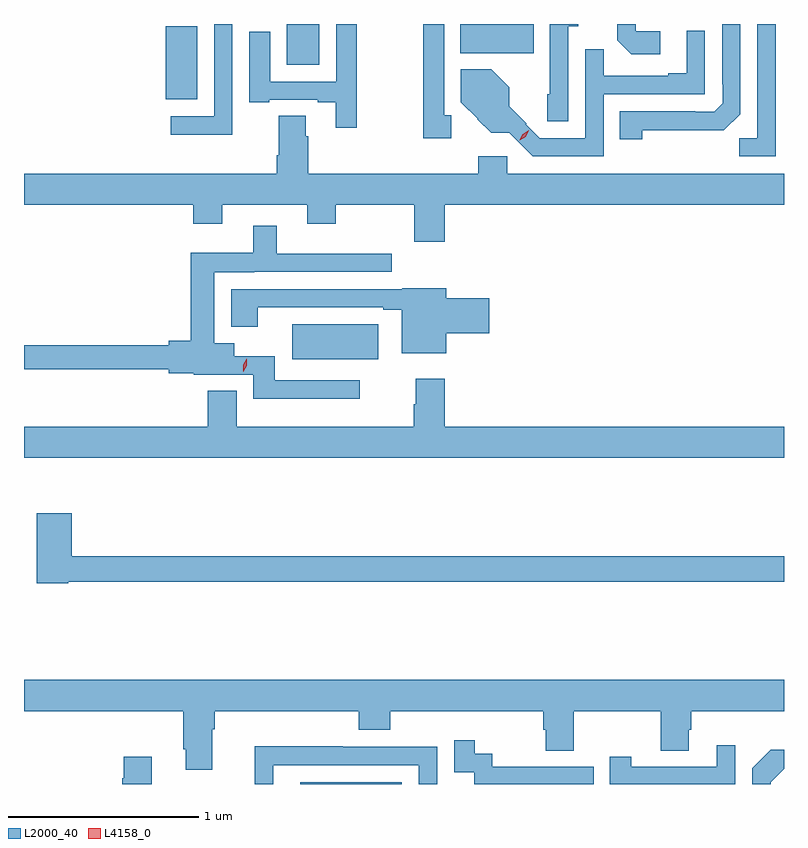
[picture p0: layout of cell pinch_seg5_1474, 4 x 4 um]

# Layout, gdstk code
import gdstk
lib = gdstk.Library(unit=1e-6, precision=1e-09)
def R(c, l, rs):  # rectangles x0, y0, x1, y1
    for r in rs: c.add(gdstk.rectangle(r[:2], r[2:], *l))
def P(c, l, *ps):  # polygons
    for p in ps: c.add(gdstk.Polygon(p, *l))
L2000_40 = (2000, 40)
L4158_0 = (4158, 0)

pinch_seg5_1474 = lib.new_cell('pinch_seg5_1474')
R(pinch_seg5_1474, L2000_40, [(370.737,841.724,371.271,841.734), (370.028,845.327,370.195,845.713), (370.667,845.51,370.837,845.724), (371.579,845.57,371.966,845.722)])
P(pinch_seg5_1474, L2000_40, [(371.532,845.244),(371.494,845.244),(371.494,845.724),(371.383,845.724),(371.383,845.124),(371.532,845.124)],
  [(370.38,845.724),(370.284,845.724),(370.284,845.238),(370.056,845.238),(370.056,845.141),(370.38,845.141)],
  [(372.147,845.713),(372.199,845.713),(372.199,845.724),(372.051,845.724),(372.051,845.355),(372.037,845.355),(372.037,845.211),(372.147,845.211)],
  [(372.537,845.164),(372.967,845.164),(373.053,845.25),(373.053,845.724),(372.957,845.724),(372.957,845.407),(372.96,845.407),(372.96,845.307),(372.915,845.262),(372.815,845.262),(372.815,845.265),(372.418,845.265),(372.418,845.118),(372.537,845.118)],
  [(373.239,845.724),(373.143,845.724),(373.143,845.123),(373.047,845.123),(373.047,845.028),(373.239,845.028)],
  [(372.631,845.685),(372.504,845.685),(372.504,845.724),(372.405,845.724),(372.405,845.639),(372.48,845.564),(372.631,845.564)],
  [(371.035,845.724),(370.926,845.724),(370.926,845.421),(370.579,845.421),(370.579,845.683),(370.469,845.683),(370.469,845.313),(370.573,845.313),(370.573,845.325),(370.829,845.325),(370.829,845.313),(370.925,845.313),(370.925,845.178),(371.035,845.178)],
  [(372.333,845.355),(372.867,845.355),(372.867,845.689),(372.77,845.689),(372.77,845.464),(372.674,845.464),(372.674,845.451),(372.335,845.451),(372.335,845.59),(372.237,845.59),(372.237,845.124),(371.997,845.124),(371.925,845.196),(371.928,845.199),(371.836,845.291),(371.836,845.39),(371.741,845.485),(371.582,845.485),(371.582,845.313),(371.67,845.225),(371.668,845.224),(371.741,845.151),(371.837,845.151),(371.96,845.028),(372.333,845.028)],
  [(371.498,844.772),(373.283,844.772),(373.283,844.936),(371.826,844.936),(371.826,845.029),(371.675,845.029),(371.675,844.936),(370.778,844.936),(370.778,845.132),(370.765,845.132),(370.765,845.24),(370.625,845.24),(370.625,845.032),(370.613,845.032),(370.613,844.936),(369.283,844.936),(369.283,844.772),(370.175,844.772),(370.175,844.673),(370.327,844.673),(370.327,844.772),(370.775,844.772),(370.775,844.673),(370.923,844.673),(370.923,844.772),(371.338,844.772),(371.338,844.578),(371.498,844.578)],
  [(371.05,843.849),(370.603,843.849),(370.603,843.976),(370.39,843.976),(370.39,844.045),(370.285,844.045),(370.285,844.418),(370.494,844.418),(370.494,844.419),(371.218,844.419),(371.218,844.516),(370.612,844.516),(370.612,844.663),(370.49,844.663),(370.49,844.519),(370.16,844.519),(370.16,844.058),(370.046,844.058),(370.046,844.034),(369.283,844.034),(369.283,843.906),(370.046,843.906),(370.046,843.887),(370.176,843.887),(370.176,843.879),(370.49,843.879),(370.49,843.752),(371.05,843.752)],
  [(371.506,844.097),(371.731,844.097),(371.731,844.28),(371.506,844.28),(371.506,844.332),(371.274,844.332),(371.274,844.329),(370.373,844.329),(370.373,844.13),(370.513,844.13),(370.513,844.233),(371.174,844.233),(371.174,844.22),(371.27,844.22),(371.27,843.992),(371.506,843.992)],
  [(371.148,844.143),(371.045,844.143),(371.045,844.144),(370.694,844.144),(370.694,843.959),(371.148,843.959)],
  [(373.283,843.604),(371.498,843.604),(371.498,843.856),(371.345,843.856),(371.345,843.722),(371.333,843.722),(371.333,843.604),(370.402,843.604),(370.402,843.793),(370.25,843.793),(370.25,843.604),(369.283,843.604),(369.283,843.44),(373.283,843.44)],
  [(369.516,842.788),(373.283,842.788),(373.283,842.924),(369.533,842.924),(369.533,843.148),(369.35,843.148),(369.35,842.78),(369.516,842.78)],
  [(370.273,842.012),(370.286,842.012),(370.286,842.108),(371.045,842.108),(371.045,842.009),(371.21,842.009),(371.21,842.108),(372.017,842.108),(372.017,842.01),(372.029,842.01),(372.029,841.9),(372.177,841.9),(372.177,842.108),(372.634,842.108),(372.634,841.9),(372.781,841.9),(372.781,842.01),(372.794,842.01),(372.794,842.108),(373.283,842.108),(373.283,842.272),(369.283,842.272),(369.283,842.108),(370.121,842.108),(370.121,841.906),(370.133,841.906),(370.133,841.799),(370.273,841.799)],
  [(372.282,841.815),(371.748,841.815),(371.748,841.884),(371.656,841.884),(371.656,841.954),(371.547,841.954),(371.547,841.785),(371.652,841.785),(371.652,841.724),(372.282,841.724)],
  [(373.026,841.927),(372.929,841.927),(372.929,841.815),(372.478,841.815),(372.478,841.867),(372.367,841.867),(372.367,841.724),(373.026,841.724)],
  [(370.596,841.824),(371.361,841.824),(371.361,841.724),(371.457,841.724),(371.457,841.92),(370.961,841.92),(370.961,841.922),(370.498,841.922),(370.498,841.724),(370.596,841.724)],
  [(373.212,841.734),(373.283,841.805),(373.283,841.904),(373.214,841.904),(373.116,841.806),(373.116,841.724),(373.212,841.724)],
  [(369.955,841.867),(369.807,841.867),(369.807,841.754),(369.799,841.754),(369.799,841.724),(369.955,841.724)])
P(pinch_seg5_1474, L4158_0, [(371.892,845.113),(371.892,845.114),(371.909,845.145),(371.94,845.164),(371.94,845.164),(371.94,845.163),(371.923,845.131),(371.892,845.113)],
  [(370.438,843.894),(370.438,843.894),(370.437,843.93),(370.455,843.962),(370.455,843.962),(370.455,843.962),(370.456,843.926),(370.438,843.894)])

lib.write_gds('pinch_seg5_1474.gds')
